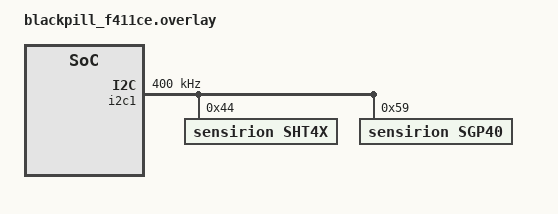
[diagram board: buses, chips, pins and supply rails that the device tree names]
/*
 * Copyright (c) 2021 Leonard Pollak
 *
 * SPDX-License-Identifier: Apache-2.0
 */

&i2c1 {
	clock-frequency = <I2C_BITRATE_FAST>;
	status = "okay";

	sht4x@44 {
		compatible = "sensirion,sht4x";
		reg = <0x44>;
		repeatability = <2>;
		status = "okay";
	};

	sgp40@59 {
		compatible = "sensirion,sgp40";
		reg = <0x59>;
		enable-selftest;
		status = "okay";
	};
};
